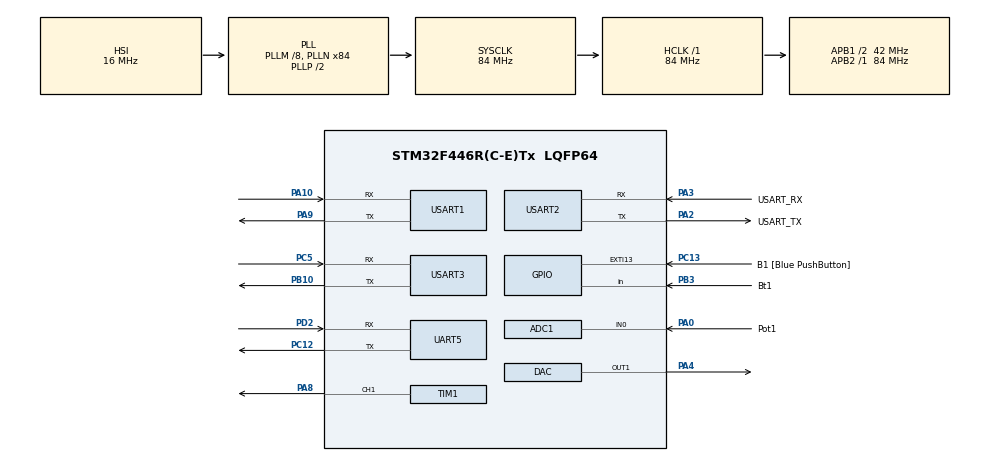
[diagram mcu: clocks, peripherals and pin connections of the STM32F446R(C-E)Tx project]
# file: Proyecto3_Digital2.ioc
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ADC1.Channel-0\#ChannelRegularConversion=ADC_CHANNEL_0
ADC1.NbrOfConversionFlag=1
ADC1.Rank-0\#ChannelRegularConversion=1
ADC1.SamplingTime-0\#ChannelRegularConversion=ADC_SAMPLETIME_3CYCLES
ADC1.master=1
DAC.DAC_Trigger=DAC_TRIGGER_T6_TRGO
Dma.DAC1.1.Direction=DMA_MEMORY_TO_PERIPH
Dma.DAC1.1.FIFOMode=DMA_FIFOMODE_DISABLE
Dma.DAC1.1.Instance=DMA1_Stream5
Dma.DAC1.1.MemDataAlignment=DMA_MDATAALIGN_WORD
Dma.DAC1.1.MemInc=DMA_MINC_ENABLE
Dma.DAC1.1.Mode=DMA_CIRCULAR
Dma.DAC1.1.PeriphDataAlignment=DMA_PDATAALIGN_WORD
Dma.DAC1.1.PeriphInc=DMA_PINC_DISABLE
Dma.DAC1.1.Priority=DMA_PRIORITY_LOW
Dma.Request0=TIM1_CH1
Dma.Request1=DAC1
Dma.TIM1_CH1.0.Direction=DMA_MEMORY_TO_PERIPH
Dma.TIM1_CH1.0.FIFOMode=DMA_FIFOMODE_DISABLE
Dma.TIM1_CH1.0.Instance=DMA2_Stream1
Dma.TIM1_CH1.0.MemDataAlignment=DMA_MDATAALIGN_HALFWORD
Dma.TIM1_CH1.0.MemInc=DMA_MINC_ENABLE
Dma.TIM1_CH1.0.Mode=DMA_NORMAL
Dma.TIM1_CH1.0.PeriphDataAlignment=DMA_PDATAALIGN_HALFWORD
Dma.TIM1_CH1.0.PeriphInc=DMA_PINC_DISABLE
Dma.TIM1_CH1.0.Priority=DMA_PRIORITY_LOW
Mcu.Family=STM32F4
Mcu.Name=STM32F446R(C-E)Tx
Mcu.Package=LQFP64
NVIC.DMA1_Stream5_IRQn=true\:0\:0\:false\:false\:true\:false\:true\:true
NVIC.DMA2_Stream1_IRQn=true\:0\:0\:false\:false\:true\:false\:true\:true
NVIC.PriorityGroup=NVIC_PRIORITYGROUP_0
NVIC.UART5_IRQn=true\:0\:0\:false\:false\:true\:true\:true\:true
NVIC.USART1_IRQn=true\:0\:0\:false\:false\:true\:true\:true\:true
NVIC.USART2_IRQn=true\:0\:0\:false\:false\:true\:true\:true\:true
NVIC.USART3_IRQn=true\:0\:0\:false\:false\:true\:true\:true\:true
PA0-WKUP.GPIO_Label=Pot1
PA0-WKUP.Signal=SharedAnalog_PA0
PA10.Mode=Asynchronous
PA10.Signal=USART1_RX
PA13.GPIO_Label=TMS
PA13.Signal=SYS_JTMS-SWDIO
PA14.GPIO_Label=TCK
PA14.Signal=SYS_JTCK-SWCLK
PA2.GPIO_Label=USART_TX
PA2.Mode=Asynchronous
PA2.Signal=USART2_TX
PA3.GPIO_Label=USART_RX
PA3.Mode=Asynchronous
PA3.Signal=USART2_RX
PA4.Signal=COMP_DAC1_group
PA8.Signal=S_TIM1_CH1
PA9.Mode=Asynchronous
PA9.Signal=USART1_TX
PB10.Mode=Asynchronous
PB10.Signal=USART3_TX
PB3.GPIO_Label=Bt1
PB3.GPIO_PuPd=GPIO_PULLDOWN
PB3.Signal=GPIO_Input
PC12.Mode=Asynchronous
PC12.Signal=UART5_TX
PC13.GPIO_Label=B1 [Blue PushButton]
PC13.GPIO_ModeDefaultEXTI=GPIO_MODE_IT_FALLING
PC13.Signal=GPXTI13
PC14-OSC32_IN.Signal=RCC_OSC32_IN
PC15-OSC32_OUT.Signal=RCC_OSC32_OUT
PC5.Mode=Asynchronous
PC5.Signal=USART3_RX
PD2.Mode=Asynchronous
PD2.Signal=UART5_RX
PH0-OSC_IN.Signal=RCC_OSC_IN
PH1-OSC_OUT.Signal=RCC_OSC_OUT
ProjectManager.HeapSize=0x200
ProjectManager.StackSize=0x400
ProjectManager.TargetToolchain=STM32CubeIDE
RCC.AHBFreq_Value=84000000
RCC.APB1CLKDivider=RCC_HCLK_DIV2
RCC.APB1Freq_Value=42000000
RCC.APB1TimFreq_Value=84000000
RCC.APB2Freq_Value=84000000
RCC.APB2TimFreq_Value=84000000
RCC.CortexFreq_Value=84000000
RCC.FLatency-AdvancedSettings=FLASH_LATENCY_2
RCC.HCLKFreq_Value=84000000
RCC.HSE_VALUE=8000000
RCC.HSI_VALUE=16000000
RCC.LSE_VALUE=32768
RCC.PLLM=8
RCC.PLLN=84
RCC.SYSCLKFreq_VALUE=84000000
RCC.SYSCLKSource=RCC_SYSCLKSOURCE_PLLCLK
RCC.USBFreq_Value=84000000
RCC.VCOOutputFreq_Value=168000000
SH.COMP_DAC1_group.0=DAC_OUT1,DAC_OUT1
SH.S_TIM1_CH1.0=TIM1_CH1,PWM Generation1 CH1
SH.SharedAnalog_PA0.0=GPIO_Analog
SH.SharedAnalog_PA0.1=ADC1_IN0,IN0
TIM1.Channel-PWM\ Generation1\ CH1=TIM_CHANNEL_1
TIM1.Period=105-1
TIM6.Period=1000-1
TIM6.Prescaler=1-1
TIM6.TIM_MasterOutputTrigger=TIM_TRGO_UPDATE
UART5.VirtualMode=Asynchronous
USART1.VirtualMode=VM_ASYNC
USART2.VirtualMode=VM_ASYNC
USART3.VirtualMode=VM_ASYNC
VP_TIM6_VS_ClockSourceINT.Mode=Enable_Timer
board=NUCLEO-F446RE

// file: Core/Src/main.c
/* USER CODE BEGIN Header */
/**
  ******************************************************************************
  * @file           : main.c
  * @brief          : Main program body
  ******************************************************************************
  * @attention
  *
  * Copyright (c) 2026 STMicroelectronics.
  * All rights reserved.
  *
  * This software is licensed under terms that can be found in the LICENSE file
  * in the root directory of this software component.
  * If no LICENSE file comes with this software, it is provided AS-IS.
  *
  ******************************************************************************
  */
/* USER CODE END Header */
#include "main.h"

/* USER CODE BEGIN Includes */
#include <Neopixel.h>
#include <stdio.h>
#include <math.h>
#include <string.h>
/* USER CODE END Includes */

/* USER CODE BEGIN PTD */
typedef enum {
    NP_REPOSO,
    NP_ADQUIRIENDO,
    NP_TRANSMITIENDO,
    NP_GUARDANDO
} EstadoNeoPixel;
/* USER CODE END PTD */

/* USER CODE BEGIN PD */
#define TIM_FREQ 84000000
#define PSC 0 //1
#define PI 3.1415926
#define size 128
#define UART3_RX_TAM 512
#define NP_TIEMPO_TX 500U
#define NP_TIMEOUT 15000U
/* USER CODE END PD */

ADC_HandleTypeDef hadc1;

DAC_HandleTypeDef hdac;
DMA_HandleTypeDef hdma_dac1;

TIM_HandleTypeDef htim1;
TIM_HandleTypeDef htim6;
DMA_HandleTypeDef hdma_tim1_ch1;

UART_HandleTypeDef huart5;
UART_HandleTypeDef huart1;
UART_HandleTypeDef huart2;
UART_HandleTypeDef huart3;

/* USER CODE BEGIN PV */
static EstadoNeoPixel estadoNP = NP_REPOSO;
static uint8_t operacionNP = 0;
static uint32_t inicioTX = 0;
static uint32_t ultimaActividadNP = 0;
uint32_t YSine[size];

uint8_t comandoLEER[] = {0x4C, 0x45, 0x45, 0x52, 0x0D, 0x0A};
uint8_t comandoGUARDAR[] = {0x47, 0x55, 0x41, 0x52, 0x44, 0x41, 0x52, 0x0D, 0x0A};
uint8_t comandoVER[] = {0x56, 0x45, 0x52, 0x0D, 0x0A};
uint8_t comandoESTADO[] = {0x45, 0x53, 0x54, 0x41, 0x44, 0x4F, 0x0D, 0x0A};

static uint8_t uart3RxByte;

static volatile uint16_t uart3Head = 0;
static volatile uint16_t uart3Tail = 0;
static uint32_t uart3UltimoByte = 0;
static volatile uint32_t uart3Overflow = 0;
static volatile uint32_t uart3BytesRecibidos = 0;

static uint16_t uart3Pos = 0;

volatile uint8_t comandoRecibido = 0;
volatile uint8_t comandoPendiente=0;
int antiR=0;
uint32_t lecPot1;
uint32_t lecPot1_Ant=0;
uint8_t dato=0;
volatile uint8_t datoRecibido = 0;
volatile uint8_t solicitarlectura=0;
char mensaje[160];
volatile uint8_t Sonido=0;
// Sonido de inicio: tres notas ascendentes
uint16_t sonidoInicio[] = {392, 523, 659};
uint16_t duracionInicio[] = {100, 100, 180};

// Sonido de finalizacion: dos notas de confirmacion
uint16_t sonidoFinal[] = {784, 1047};
uint16_t duracionFinal[] = {120, 220};
uint16_t sonidoError[] = {880, 440, 220};
uint16_t duracionError[] = {110, 130, 240};
/* USER CODE END PV */

void SystemClock_Config(void);
static void MX_GPIO_Init(void);
static void MX_DMA_Init(void);
static void MX_TIM1_Init(void);
static void MX_USART1_UART_Init(void);
static void MX_USART2_UART_Init(void);
static void MX_USART3_UART_Init(void);
static void MX_ADC1_Init(void);
static void MX_DAC_Init(void);
static void MX_TIM6_Init(void);
static void MX_UART5_Init(void);
/* USER CODE BEGIN PFP */
void lectura(void);

void generarSin(void);
int calcularARR(int freq);
void playTone(const uint16_t *tone, const uint16_t *duration, int Nsize, const uint16_t *pause);
void noTone(void);
void generarSonido(void);
void ProcesarComandoEsp32(uint8_t);
void Detener(void);
void UART3_ProcesarRecibidos(void);
void ProcesarRespuestaNucleo2(const char *respuesta);
static uint8_t uart3Buffer[UART3_RX_TAM];
void NeoPixel_CambiarEstado(EstadoNeoPixel estado);
void NeoPixel_Respuesta(const char *respuesta);
void NeoPixel_Actualizar(void);
void Sonido_Inicio(void);
void Sonido_Final(void);
void Sonido_Error(void);
/* USER CODE END PFP */

/* USER CODE BEGIN 0 */
void generarSin(void) {
    for (int x = 0; x < size; x++) {
        YSine[x] = ((sin(x * 2 * PI / size) + 1) * (4096 / 2));
    }
}
int calcularARR(int freq) {
    if (freq == 0)
        return 0;

    int TF = size * freq;
    return ((TIM_FREQ / ((PSC + 1) * TF)) - 1);
}

void playTone(const uint16_t *tone, const uint16_t *duration, int Nsize, const uint16_t *pause)
{
    for (int i = 0; i < Nsize; i++)
    {
        int valorARR = calcularARR(tone[i]);  // calcular el valor ARR
        int dur = duration[i];                // obtener la duración
        int pauseBetweenTones = 0;

        if (pause != NULL)
            pauseBetweenTones = pause[i] - duration[i];

        TIM6->ARR = valorARR;
        TIM6->CNT = 0;
        HAL_TIM_Base_Start(&htim6);
        HAL_Delay(dur);                       // duración nota
        noTone();                             // pausa
        HAL_Delay(pauseBetweenTones);         // duración sin tono
    }
}
void noTone(void)
{
    HAL_TIM_Base_Stop(&htim6);
}
/* USER CODE END 0 */

int main(void)
{

  /* MCU Configuration--------------------------------------------------------*/

  /* Reset of all peripherals, Initializes the Flash interface and the Systick. */
  HAL_Init();

  /* Configure the system clock */
  SystemClock_Config();

  /* Initialize all configured peripherals */
  MX_GPIO_Init();
  MX_DMA_Init();
  MX_TIM1_Init();
  MX_USART1_UART_Init();
  MX_USART2_UART_Init();
  MX_USART3_UART_Init();
  MX_ADC1_Init();
  MX_DAC_Init();
  MX_TIM6_Init();
  MX_UART5_Init();
  /* USER CODE BEGIN 2 */
  HAL_UART_Receive_IT(&huart1, (uint8_t*)&dato,1);
  generarSin();

  HAL_DAC_Init(&hdac);
  HAL_TIM_Base_Start(&htim6);

  HAL_DAC_Start_DMA(&hdac, DAC_CHANNEL_1, YSine, size, DAC_ALIGN_12B_R);

  noTone();
  HAL_UART_Receive_IT(&huart3, &uart3RxByte, 1);

  setBrightness(50);

  /* USER CODE END 2 */

  /* Infinite loop */
  /* USER CODE BEGIN WHILE */
  while (1)
  {

	  UART3_ProcesarRecibidos();
	  NeoPixel_Actualizar();
	  if(comandoPendiente){
		  comandoPendiente=0;
		  ProcesarComandoEsp32(dato);
	  }

    /* USER CODE END WHILE */

  }
}

void SystemClock_Config(void)
{
  RCC_OscInitTypeDef RCC_OscInitStruct = {0};
  RCC_ClkInitTypeDef RCC_ClkInitStruct = {0};

  /** Configure the main internal regulator output voltage
  */
  __HAL_RCC_PWR_CLK_ENABLE();
  __HAL_PWR_VOLTAGESCALING_CONFIG(PWR_REGULATOR_VOLTAGE_SCALE3);

  /** Initializes the RCC Oscillators according to the specified parameters
  * in the RCC_OscInitTypeDef structure.
  */
  RCC_OscInitStruct.OscillatorType = RCC_OSCILLATORTYPE_HSI;
  RCC_OscInitStruct.HSIState = RCC_HSI_ON;
  RCC_OscInitStruct.HSICalibrationValue = RCC_HSICALIBRATION_DEFAULT;
  RCC_OscInitStruct.PLL.PLLState = RCC_PLL_ON;
  RCC_OscInitStruct.PLL.PLLSource = RCC_PLLSOURCE_HSI;
  RCC_OscInitStruct.PLL.PLLM = 8;
  RCC_OscInitStruct.PLL.PLLN = 84;
  RCC_OscInitStruct.PLL.PLLP = RCC_PLLP_DIV2;
  RCC_OscInitStruct.PLL.PLLQ = 2;
  RCC_OscInitStruct.PLL.PLLR = 2;
  if (HAL_RCC_OscConfig(&RCC_OscInitStruct) != HAL_OK)
  {
    Error_Handler();
  }

  /** Initializes the CPU, AHB and APB buses clocks
  */
  RCC_ClkInitStruct.ClockType = RCC_CLOCKTYPE_HCLK|RCC_CLOCKTYPE_SYSCLK
                              |RCC_CLOCKTYPE_PCLK1|RCC_CLOCKTYPE_PCLK2;
  RCC_ClkInitStruct.SYSCLKSource = RCC_SYSCLKSOURCE_PLLCLK;
  RCC_ClkInitStruct.AHBCLKDivider = RCC_SYSCLK_DIV1;
  RCC_ClkInitStruct.APB1CLKDivider = RCC_HCLK_DIV2;
  RCC_ClkInitStruct.APB2CLKDivider = RCC_HCLK_DIV1;

  if (HAL_RCC_ClockConfig(&RCC_ClkInitStruct, FLASH_LATENCY_2) != HAL_OK)
  {
    Error_Handler();
  }
}

static void MX_ADC1_Init(void)
{

  ADC_ChannelConfTypeDef sConfig = {0};

  /** Configure the global features of the ADC (Clock, Resolution, Data Alignment and number of conversion)
  */
  hadc1.Instance = ADC1;
  hadc1.Init.ClockPrescaler = ADC_CLOCK_SYNC_PCLK_DIV4;
  hadc1.Init.Resolution = ADC_RESOLUTION_12B;
  hadc1.Init.ScanConvMode = DISABLE;
  hadc1.Init.ContinuousConvMode = DISABLE;
  hadc1.Init.DiscontinuousConvMode = DISABLE;
  hadc1.Init.ExternalTrigConvEdge = ADC_EXTERNALTRIGCONVEDGE_NONE;
  hadc1.Init.ExternalTrigConv = ADC_SOFTWARE_START;
  hadc1.Init.DataAlign = ADC_DATAALIGN_RIGHT;
  hadc1.Init.NbrOfConversion = 1;
  hadc1.Init.DMAContinuousRequests = DISABLE;
  hadc1.Init.EOCSelection = ADC_EOC_SINGLE_CONV;
  if (HAL_ADC_Init(&hadc1) != HAL_OK)
  {
    Error_Handler();
  }

  /** Configure for the selected ADC regular channel its corresponding rank in the sequencer and its sample time.
  */
  sConfig.Channel = ADC_CHANNEL_0;
  sConfig.Rank = 1;
  sConfig.SamplingTime = ADC_SAMPLETIME_3CYCLES;
  if (HAL_ADC_ConfigChannel(&hadc1, &sConfig) != HAL_OK)
  {
    Error_Handler();
  }

}

static void MX_DAC_Init(void)
{

  DAC_ChannelConfTypeDef sConfig = {0};

  /** DAC Initialization
  */
  hdac.Instance = DAC;
  if (HAL_DAC_Init(&hdac) != HAL_OK)
  {
    Error_Handler();
  }

  /** DAC channel OUT1 config
  */
  sConfig.DAC_Trigger = DAC_TRIGGER_T6_TRGO;
  sConfig.DAC_OutputBuffer = DAC_OUTPUTBUFFER_ENABLE;
  if (HAL_DAC_ConfigChannel(&hdac, &sConfig, DAC_CHANNEL_1) != HAL_OK)
  {
    Error_Handler();
  }

}

static void MX_TIM1_Init(void)
{

  TIM_MasterConfigTypeDef sMasterConfig = {0};
  TIM_OC_InitTypeDef sConfigOC = {0};
  TIM_BreakDeadTimeConfigTypeDef sBreakDeadTimeConfig = {0};

  htim1.Instance = TIM1;
  htim1.Init.Prescaler = 0;
  htim1.Init.CounterMode = TIM_COUNTERMODE_UP;
  htim1.Init.Period = 105-1;
  htim1.Init.ClockDivision = TIM_CLOCKDIVISION_DIV1;
  htim1.Init.RepetitionCounter = 0;
  htim1.Init.AutoReloadPreload = TIM_AUTORELOAD_PRELOAD_DISABLE;
  if (HAL_TIM_PWM_Init(&htim1) != HAL_OK)
  {
    Error_Handler();
  }
  sMasterConfig.MasterOutputTrigger = TIM_TRGO_RESET;
  sMasterConfig.MasterSlaveMode = TIM_MASTERSLAVEMODE_DISABLE;
  if (HAL_TIMEx_MasterConfigSynchronization(&htim1, &sMasterConfig) != HAL_OK)
  {
    Error_Handler();
  }
  sConfigOC.OCMode = TIM_OCMODE_PWM1;
  sConfigOC.Pulse = 0;
  sConfigOC.OCPolarity = TIM_OCPOLARITY_HIGH;
  sConfigOC.OCNPolarity = TIM_OCNPOLARITY_HIGH;
  sConfigOC.OCFastMode = TIM_OCFAST_DISABLE;
  sConfigOC.OCIdleState = TIM_OCIDLESTATE_RESET;
  sConfigOC.OCNIdleState = TIM_OCNIDLESTATE_RESET;
  if (HAL_TIM_PWM_ConfigChannel(&htim1, &sConfigOC, TIM_CHANNEL_1) != HAL_OK)
  {
    Error_Handler();
  }
  sBreakDeadTimeConfig.OffStateRunMode = TIM_OSSR_DISABLE;
  sBreakDeadTimeConfig.OffStateIDLEMode = TIM_OSSI_DISABLE;
  sBreakDeadTimeConfig.LockLevel = TIM_LOCKLEVEL_OFF;
  sBreakDeadTimeConfig.DeadTime = 0;
  sBreakDeadTimeConfig.BreakState = TIM_BREAK_DISABLE;
  sBreakDeadTimeConfig.BreakPolarity = TIM_BREAKPOLARITY_HIGH;
  sBreakDeadTimeConfig.AutomaticOutput = TIM_AUTOMATICOUTPUT_DISABLE;
  if (HAL_TIMEx_ConfigBreakDeadTime(&htim1, &sBreakDeadTimeConfig) != HAL_OK)
  {
    Error_Handler();
  }
  HAL_TIM_MspPostInit(&htim1);

}

static void MX_TIM6_Init(void)
{

  TIM_MasterConfigTypeDef sMasterConfig = {0};

  htim6.Instance = TIM6;
  htim6.Init.Prescaler = 1-1;
  htim6.Init.CounterMode = TIM_COUNTERMODE_UP;
  htim6.Init.Period = 1000-1;
  htim6.Init.AutoReloadPreload = TIM_AUTORELOAD_PRELOAD_DISABLE;
  if (HAL_TIM_Base_Init(&htim6) != HAL_OK)
  {
    Error_Handler();
  }
  sMasterConfig.MasterOutputTrigger = TIM_TRGO_UPDATE;
  sMasterConfig.MasterSlaveMode = TIM_MASTERSLAVEMODE_DISABLE;
  if (HAL_TIMEx_MasterConfigSynchronization(&htim6, &sMasterConfig) != HAL_OK)
  {
    Error_Handler();
  }

}

static void MX_UART5_Init(void)
{

  huart5.Instance = UART5;
  huart5.Init.BaudRate = 115200;
  huart5.Init.WordLength = UART_WORDLENGTH_8B;
  huart5.Init.StopBits = UART_STOPBITS_1;
  huart5.Init.Parity = UART_PARITY_NONE;
  huart5.Init.Mode = UART_MODE_TX_RX;
  huart5.Init.HwFlowCtl = UART_HWCONTROL_NONE;
  huart5.Init.OverSampling = UART_OVERSAMPLING_16;
  if (HAL_UART_Init(&huart5) != HAL_OK)
  {
    Error_Handler();
  }

}

static void MX_USART1_UART_Init(void)
{

  huart1.Instance = USART1;
  huart1.Init.BaudRate = 115200;
  huart1.Init.WordLength = UART_WORDLENGTH_8B;
  huart1.Init.StopBits = UART_STOPBITS_1;
  huart1.Init.Parity = UART_PARITY_NONE;
  huart1.Init.Mode = UART_MODE_TX_RX;
  huart1.Init.HwFlowCtl = UART_HWCONTROL_NONE;
  huart1.Init.OverSampling = UART_OVERSAMPLING_16;
  if (HAL_UART_Init(&huart1) != HAL_OK)
  {
    Error_Handler();
  }

}

static void MX_USART2_UART_Init(void)
{

  huart2.Instance = USART2;
  huart2.Init.BaudRate = 115200;
  huart2.Init.WordLength = UART_WORDLENGTH_8B;
  huart2.Init.StopBits = UART_STOPBITS_1;
  huart2.Init.Parity = UART_PARITY_NONE;
  huart2.Init.Mode = UART_MODE_TX_RX;
  huart2.Init.HwFlowCtl = UART_HWCONTROL_NONE;
  huart2.Init.OverSampling = UART_OVERSAMPLING_16;
  if (HAL_UART_Init(&huart2) != HAL_OK)
  {
    Error_Handler();
  }

}

static void MX_USART3_UART_Init(void)
{

  huart3.Instance = USART3;
  huart3.Init.BaudRate = 115200;
  huart3.Init.WordLength = UART_WORDLENGTH_8B;
  huart3.Init.StopBits = UART_STOPBITS_1;
  huart3.Init.Parity = UART_PARITY_NONE;
  huart3.Init.Mode = UART_MODE_TX_RX;
  huart3.Init.HwFlowCtl = UART_HWCONTROL_NONE;
  huart3.Init.OverSampling = UART_OVERSAMPLING_16;
  if (HAL_UART_Init(&huart3) != HAL_OK)
  {
    Error_Handler();
  }

}

static void MX_DMA_Init(void)
{

  /* DMA controller clock enable */
  __HAL_RCC_DMA2_CLK_ENABLE();
  __HAL_RCC_DMA1_CLK_ENABLE();

  /* DMA interrupt init */
  /* DMA1_Stream5_IRQn interrupt configuration */
  HAL_NVIC_SetPriority(DMA1_Stream5_IRQn, 0, 0);
  HAL_NVIC_EnableIRQ(DMA1_Stream5_IRQn);
  /* DMA2_Stream1_IRQn interrupt configuration */
  HAL_NVIC_SetPriority(DMA2_Stream1_IRQn, 0, 0);
  HAL_NVIC_EnableIRQ(DMA2_Stream1_IRQn);

}

static void MX_GPIO_Init(void)
{
  GPIO_InitTypeDef GPIO_InitStruct = {0};

  /* GPIO Ports Clock Enable */
  __HAL_RCC_GPIOC_CLK_ENABLE();
  __HAL_RCC_GPIOH_CLK_ENABLE();
  __HAL_RCC_GPIOA_CLK_ENABLE();
  __HAL_RCC_GPIOB_CLK_ENABLE();
  __HAL_RCC_GPIOD_CLK_ENABLE();

  /*Configure GPIO pin : B1_Pin */
  GPIO_InitStruct.Pin = B1_Pin;
  GPIO_InitStruct.Mode = GPIO_MODE_IT_FALLING;
  GPIO_InitStruct.Pull = GPIO_NOPULL;
  HAL_GPIO_Init(B1_GPIO_Port, &GPIO_InitStruct);

  /*Configure GPIO pin : Bt1_Pin */
  GPIO_InitStruct.Pin = Bt1_Pin;
  GPIO_InitStruct.Mode = GPIO_MODE_INPUT;
  GPIO_InitStruct.Pull = GPIO_PULLDOWN;
  HAL_GPIO_Init(Bt1_GPIO_Port, &GPIO_InitStruct);

}

/* USER CODE BEGIN 4 */

void HAL_UART_RxCpltCallback(UART_HandleTypeDef *huart)
{
    if (huart->Instance == USART1)
    {
        switch (dato)
        {
            case '1':  // LEER
                comandoPendiente = 1;
                Sonido = 1;
                break;

            case '2':  // GUARDAR
                comandoPendiente = 1;
                Sonido = 2;
                break;

            case '3':  // VER
                comandoPendiente = 1;
                Sonido = 4;
                break;

            case '4':  // ESTADO
                comandoPendiente = 1;
                Sonido = 3;
                break;
        }

        // Reactivar recepción por interrupción
        HAL_UART_Receive_IT(&huart1, &dato, 1);
    }
    else if (huart->Instance == UART5)
    {
        uint16_t siguiente =
            (uart3Head + 1) % UART3_RX_TAM;

        if (siguiente != uart3Tail)
        {
            uart3Buffer[uart3Head] = uart3RxByte;
            uart3Head = siguiente;
        }
        else
        {
            uart3Overflow++;
        }

        HAL_UART_Receive_IT(&huart3, &uart3RxByte, 1);
    }
}

void ProcesarComandoEsp32(uint8_t comando)
{
	if (comando < '1' || comando > '4')
	        return;

	    operacionNP = comando;
	    ultimaActividadNP = HAL_GetTick();
	    Sonido_Inicio();
    switch (comando)
    {
        case '1':
        	 NeoPixel_CambiarEstado(NP_ADQUIRIENDO);
 // Verde
			pixelShow();
            HAL_UART_Transmit(&huart2,
                (uint8_t*)"LEER\r\n", 6, 100);
            HAL_UART_Transmit(&huart5, comandoLEER, sizeof(comandoLEER), 100);
            break;

        case '2':
        	NeoPixel_CambiarEstado(NP_GUARDANDO);
			pixelShow();
            HAL_UART_Transmit(&huart2,
                (uint8_t*)"GUARDAR\r\n", 9, 100);
            HAL_UART_Transmit(&huart5, comandoGUARDAR, sizeof(comandoGUARDAR), 100);
            break;

        case '3':
        	 NeoPixel_CambiarEstado(NP_TRANSMITIENDO);
			pixelShow();
            HAL_UART_Transmit(&huart2,
                (uint8_t*)"VER\r\n", 5, 100);
            HAL_UART_Transmit(&huart5, comandoVER, sizeof(comandoVER), 100);
            break;

        case '4':
        	NeoPixel_CambiarEstado(NP_TRANSMITIENDO); // Verde
			pixelShow();
            HAL_UART_Transmit(&huart5,
                (uint8_t*)"ESTADO\r\n", 8, 100);
            HAL_UART_Transmit(&huart5, comandoESTADO, sizeof(comandoESTADO), 100);
            break;
    }
}

void generarSonido(){
	switch (Sonido){
	case 1:
		break;
	case 2:
		break;
	case 3:
		break;
	case 4:
		break;
	}
}

void UART3_ProcesarRecibidos(void)
{
    // Recibir bytes sin depender de USART3_IRQHandler ni NVIC.
    // El while principal ya llama a esta funcion continuamente.
    while (HAL_UART_Receive(&huart5, &uart3RxByte, 1, 0) == HAL_OK)
    {
        uart3BytesRecibidos++;
        if (uart3Pos < UART3_RX_TAM)
        {
            uart3Buffer[uart3Pos++] = uart3RxByte;
        }
        else
        {
            uart3Overflow++;
        }
        uart3UltimoByte = HAL_GetTick();
    }

    // Recuperacion si el receptor tuvo un overrun.
    if (__HAL_UART_GET_FLAG(&huart3, UART_FLAG_ORE) != RESET)
    {
        __HAL_UART_CLEAR_OREFLAG(&huart3);
        uart3Overflow++;
    }

    // Nucleo 2 manda mensajes cortos y bloques SD separados por pausas.
    // Esperar un breve silencio y reenviar el bloque completo por USART2.
    if (uart3Pos > 0 &&
        (uint32_t)(HAL_GetTick() - uart3UltimoByte) >= 3U)
    {
        uart3Buffer[uart3Pos] = '\0';

        HAL_UART_Transmit(
            &huart2,
            uart3Buffer,
            uart3Pos,
            1000
        );

        NeoPixel_Respuesta((const char *)uart3Buffer);

        uart3Pos = 0;
    }   if (uart3Pos > 0 &&
        (uint32_t)(HAL_GetTick() - uart3UltimoByte) >= 3U)
    {
        HAL_UART_Transmit(&huart2, uart3Buffer, uart3Pos, 1000);
        uart3Pos = 0;
    }
}
void NeoPixel_CambiarEstado(EstadoNeoPixel estado)
{
    estadoNP = estado;

    switch (estado)
    {
        case NP_REPOSO:
            setPixelColor(0, 255, 255, 255); // Blanco
            break;

        case NP_ADQUIRIENDO:
            setPixelColor(0, 0, 0, 255); // Azul
            break;

        case NP_TRANSMITIENDO:
            setPixelColor(0, 204, 39, 245); // Amarillo
            break;

        case NP_GUARDANDO:
            setPixelColor(0, 0, 255, 0); // Verde
            break;
    }

    pixelShow();
}

void NeoPixel_Respuesta(const char *respuesta)
{
    // Detectar errores enviados por Nucleo 2
    uint8_t esError =
        (strstr(respuesta, "ERROR") != NULL) ||
        (strstr(respuesta, "COMANDO_DESCONOCIDO") != NULL);

    // Error de montaje SD al iniciar el sistema
    if (operacionNP == 0)
    {
        if (strstr(respuesta, "ERROR AL MONTAR SD") != NULL)
        {
            Sonido_Error();
        }

        return;
    }

    ultimaActividadNP = HAL_GetTick();

    uint8_t terminado = esError;

    switch (operacionNP)
    {
        case '1': // LEER

            if (strstr(respuesta, "MEDICION:") != NULL)
            {
                terminado = 1;
            }
            break;

        case '2': // GUARDAR

            if (strstr(respuesta, "GUARDADO_OK") != NULL)
            {
                terminado = 1;
            }
            break;

        case '3': // VER

            if (strstr(respuesta, "VER_OK") != NULL)
            {
                terminado = 1;
            }
            break;

        case '4': // ESTADO

            if (strstr(respuesta, "MEDICION_DISPONIBLE") != NULL ||
                strstr(respuesta, "SIN_MEDICION") != NULL)
            {
                terminado = 1;
            }
            break;
    }

    if (terminado)
    {
        operacionNP = 0;

        NeoPixel_CambiarEstado(NP_TRANSMITIENDO);

        inicioTX = HAL_GetTick();

        if (esError)
        {
            Sonido_Error();
        }
        else
        {
            Sonido_Final();
        }
    }
}

void NeoPixel_Actualizar(void)
{
    uint32_t ahora = HAL_GetTick();

    // Regresar a reposo 500 ms despues
    // de terminar la transmision
    if (estadoNP == NP_TRANSMITIENDO &&
        operacionNP == 0)
    {
        if ((uint32_t)(ahora - inicioTX) >= 500)
        {
            Detener();
        }
    }

    // Si Nucleo 2 no responde en 15 segundos
    if (operacionNP != 0 &&
        (uint32_t)(ahora - ultimaActividadNP) >= 15000)
    {
        HAL_UART_Transmit(
            &huart2,
            (uint8_t*)"TIMEOUT NUCLEO 2\r\n",
            sizeof("TIMEOUT NUCLEO 2\r\n") - 1,
            100
        );
Sonido_Error();

        Detener();
    }
}
void Sonido_Inicio(void)
{
    playTone(sonidoInicio, duracionInicio, 3, NULL);
}

void Sonido_Final(void)
{
    playTone(sonidoFinal, duracionFinal, 2, NULL);
}
void Sonido_Error(void)
{
    playTone(sonidoError, duracionError, 3, NULL);
}
void Detener(){

	    operacionNP = 0;

	    NeoPixel_CambiarEstado(NP_REPOSO);

}

/* USER CODE END 4 */

void Error_Handler(void)
{
  __disable_irq();
  while (1)
  {
  }
}
